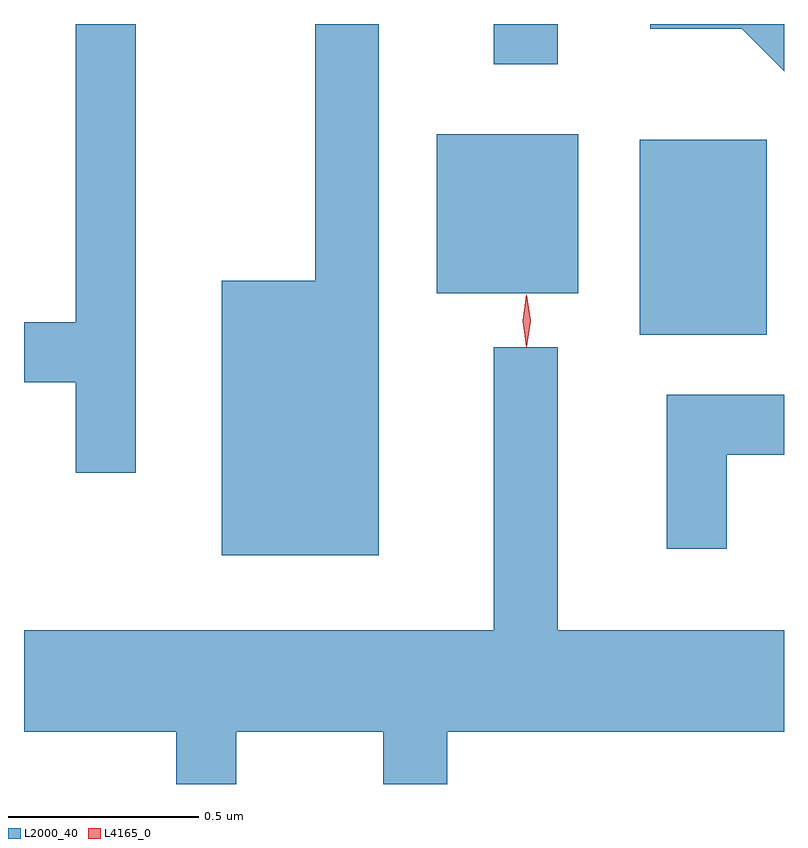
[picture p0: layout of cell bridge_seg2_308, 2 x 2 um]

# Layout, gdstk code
import gdstk
lib = gdstk.Library(unit=1e-6, precision=1e-09)
def R(c, l, rs):  # rectangles x0, y0, x1, y1
    for r in rs: c.add(gdstk.rectangle(r[:2], r[2:], *l))
def P(c, l, *ps):  # polygons
    for p in ps: c.add(gdstk.Polygon(p, *l))
L2000_40 = (2000, 40)
L4165_0 = (4165, 0)

bridge_seg2_308 = lib.new_cell('bridge_seg2_308')
R(bridge_seg2_308, L2000_40, [(446.536,1089.321,446.869,1089.834), (446.001,1089.431,446.374,1089.849), (446.151,1090.033,446.319,1090.139)])
P(bridge_seg2_308, L2000_40, [(445.209,1090.139),(445.051,1090.139),(445.051,1089.354),(444.915,1089.354),(444.915,1089.196),(445.051,1089.196),(445.051,1088.958),(445.209,1088.958)],
  [(446.915,1090.139),(446.563,1090.139),(446.563,1090.126),(446.804,1090.126),(446.915,1090.015)],
  [(445.849,1090.139),(445.681,1090.139),(445.681,1089.464),(445.436,1089.464),(445.436,1088.741),(445.849,1088.741)],
  [(445.474,1088.276),(445.861,1088.276),(445.861,1088.139),(446.029,1088.139),(446.029,1088.276),(446.915,1088.276),(446.915,1088.544),(446.319,1088.544),(446.319,1089.288),(446.151,1089.288),(446.151,1088.544),(444.915,1088.544),(444.915,1088.276),(445.316,1088.276),(445.316,1088.139),(445.474,1088.139)],
  [(446.764,1089.006),(446.915,1089.006),(446.915,1089.164),(446.606,1089.164),(446.606,1088.758),(446.764,1088.758)])
P(bridge_seg2_308, L4165_0, [(446.237,1089.29),(446.228,1089.358),(446.237,1089.426),(446.238,1089.426),(446.238,1089.426),(446.248,1089.358),(446.238,1089.29),(446.238,1089.29)],
  [(446.237,1089.293),(446.228,1089.357),(446.237,1089.421),(446.238,1089.422),(446.238,1089.421),(446.248,1089.357),(446.238,1089.293),(446.238,1089.293)])

lib.write_gds('bridge_seg2_308.gds')
